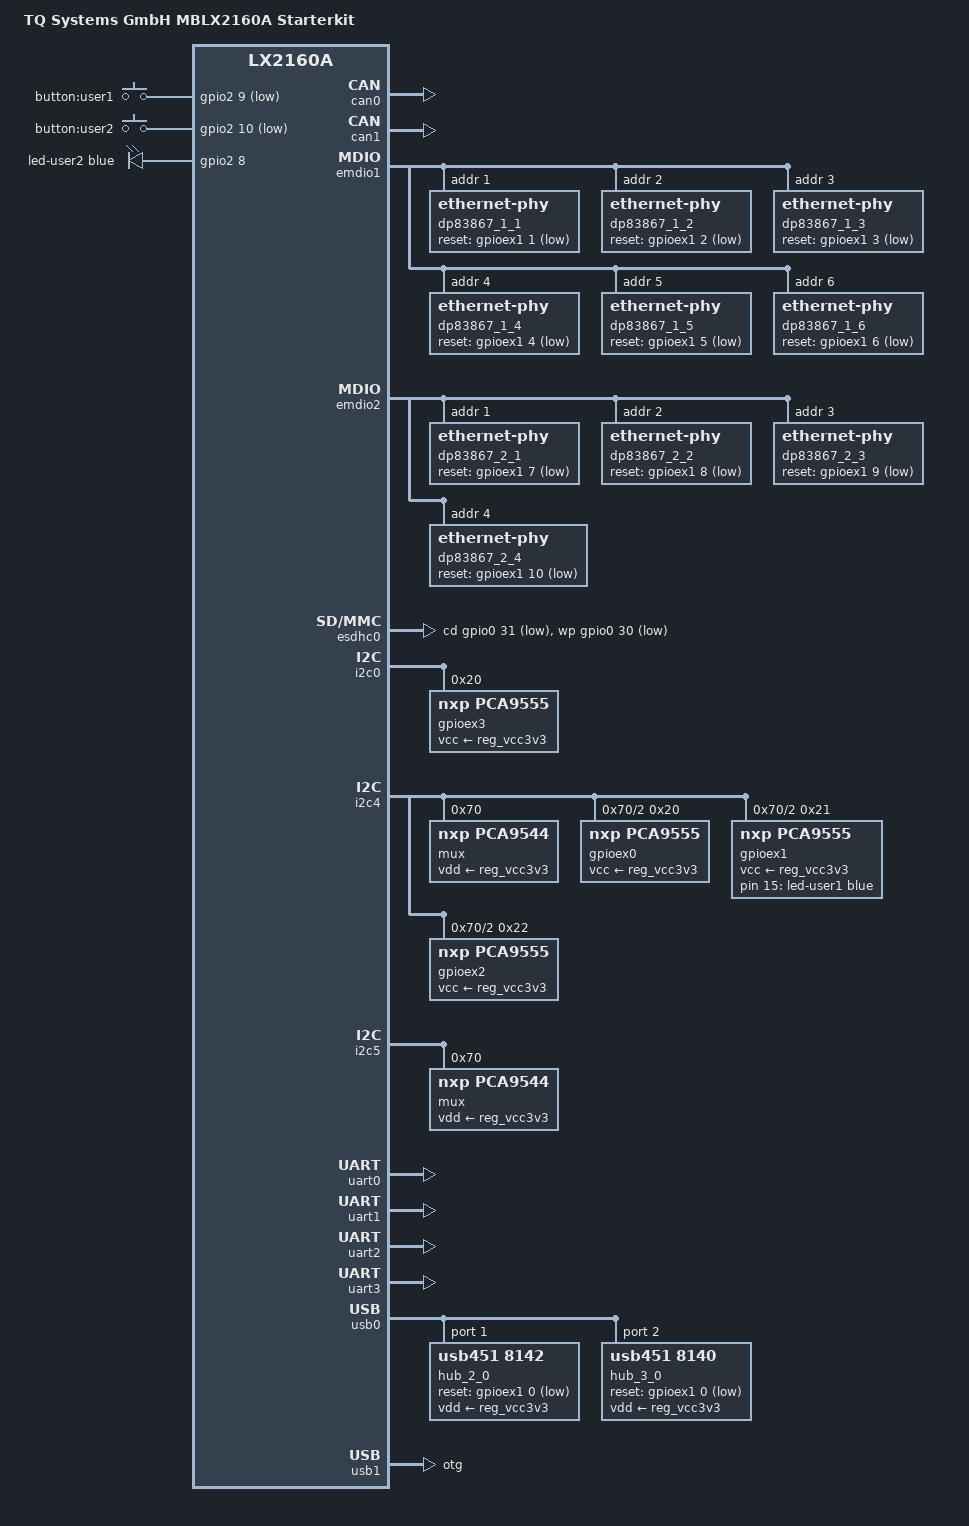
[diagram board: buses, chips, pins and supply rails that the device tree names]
// SPDX-License-Identifier: GPL-2.0-or-later OR MIT
/*
 * Copyright (c) 2020-2023 TQ-Systems GmbH <linux@ew.tq-group.com>,
 * D-82229 Seefeld, Germany.
 * Author: Gregor Herburger
 */

/dts-v1/;

#include <dt-bindings/input/input.h>
#include <dt-bindings/leds/common.h>
#include <dt-bindings/net/ti-dp83867.h>

#include "fsl-lx2160a-tqmlx2160a.dtsi"

/ {
	model = "TQ Systems GmbH MBLX2160A Starterkit";
	compatible = "tq,lx2160a-tqmlx2160a-mblx2160a", "tq,lx2160a-tqmlx2160a",
		     "fsl,lx2160a";

	aliases {
		mmc0 = &esdhc0;
		mmc1 = &esdhc1;
		serial0 = &uart0;
		serial1 = &uart1;
		serial2 = &uart2;
		serial3 = &uart3;
	};

	chosen {
		stdout-path = &uart0;
	};

	gpio-keys {
		compatible = "gpio-keys";

		button-user1 {
			label = "button:user1";
			gpios = <&gpio2 9 GPIO_ACTIVE_LOW>;
			linux,code = <KEY_F1>;
		};

		button-user2 {
			label = "button:user2";
			gpios = <&gpio2 10 GPIO_ACTIVE_LOW>;
			linux,code = <KEY_F2>;
		};
	};

	leds {
		compatible = "gpio-leds";

		led-user1 {
			gpios = <&gpioex1 15 GPIO_ACTIVE_HIGH>;
			color = <LED_COLOR_ID_BLUE>;
			function = LED_FUNCTION_HEARTBEAT;
			function-enumerator = <0>;
			linux,default-trigger = "heartbeat";
		};

		led-user2 {
			gpios = <&gpio2 8 GPIO_ACTIVE_HIGH>;
			color = <LED_COLOR_ID_BLUE>;
			function = LED_FUNCTION_HEARTBEAT;
			function-enumerator = <1>;
			linux,default-trigger = "heartbeat";
		};
	};

	sfp_xfi1: sfp-xfi1 {
		compatible = "sff,sfp";
		i2c-bus = <&xfi1_i2c>;
		mod-def0-gpios = <&gpioex2 2 GPIO_ACTIVE_LOW>;
		los-gpios = <&gpioex2 3 GPIO_ACTIVE_HIGH>;
		tx-fault-gpios = <&gpioex2 0 GPIO_ACTIVE_HIGH>;
		tx-disable-gpios = <&gpioex2 1 GPIO_ACTIVE_HIGH>;
		status = "disabled";
	};

	sfp_xfi2: sfp-xfi2 {
		compatible = "sff,sfp";
		i2c-bus = <&xfi2_i2c>;
		mod-def0-gpios = <&gpioex2 6 GPIO_ACTIVE_LOW>;
		los-gpios = <&gpioex2 7 GPIO_ACTIVE_HIGH>;
		tx-fault-gpios = <&gpioex2 4 GPIO_ACTIVE_HIGH>;
		tx-disable-gpios = <&gpioex2 5 GPIO_ACTIVE_HIGH>;
		status = "disabled";
	};
};

&can0 {
	status = "okay";
};

&can1 {
	status = "okay";
};

&dpmac17 {
	phy-handle = <&dp83867_2_3>;
	phy-connection-type = "rgmii-id";
};

&dpmac18 {
	phy-handle = <&dp83867_2_4>;
	phy-connection-type = "rgmii-id";
};

/*
 * Assert reset for 2.5ms on SGMII PHYs to let capacitors discharge before
 * strap pin sampling
 */

&emdio1 {
	status = "okay";

	dp83867_1_1: ethernet-phy@1 {
		reg = <1>;
		reset-assert-us = <2500>;
		reset-deassert-us = <200>;
		reset-gpios = <&gpioex1 1 GPIO_ACTIVE_LOW>;
		ti,clk-output-sel = <DP83867_CLK_O_SEL_OFF>;
	};

	dp83867_1_2: ethernet-phy@2 {
		reg = <2>;
		reset-assert-us = <2500>;
		reset-deassert-us = <200>;
		reset-gpios = <&gpioex1 2 GPIO_ACTIVE_LOW>;
		ti,clk-output-sel = <DP83867_CLK_O_SEL_OFF>;
	};

	dp83867_1_3: ethernet-phy@3 {
		reg = <3>;
		reset-assert-us = <2500>;
		reset-deassert-us = <200>;
		reset-gpios = <&gpioex1 3 GPIO_ACTIVE_LOW>;
		ti,clk-output-sel = <DP83867_CLK_O_SEL_OFF>;
	};

	dp83867_1_4: ethernet-phy@4 {
		reg = <4>;
		reset-assert-us = <2500>;
		reset-deassert-us = <200>;
		reset-gpios = <&gpioex1 4 GPIO_ACTIVE_LOW>;
		ti,clk-output-sel = <DP83867_CLK_O_SEL_OFF>;
	};

	dp83867_1_5: ethernet-phy@5 {
		reg = <5>;
		reset-assert-us = <2500>;
		reset-deassert-us = <200>;
		reset-gpios = <&gpioex1 5 GPIO_ACTIVE_LOW>;
		ti,clk-output-sel = <DP83867_CLK_O_SEL_OFF>;
	};

	dp83867_1_6: ethernet-phy@6 {
		reg = <6>;
		reset-assert-us = <2500>;
		reset-deassert-us = <200>;
		reset-gpios = <&gpioex1 6 GPIO_ACTIVE_LOW>;
		ti,clk-output-sel = <DP83867_CLK_O_SEL_OFF>;
	};
};

&emdio2 {
	status = "okay";

	dp83867_2_1: ethernet-phy@1 {
		reg = <1>;
		reset-assert-us = <2500>;
		reset-deassert-us = <200>;
		reset-gpios = <&gpioex1 7 GPIO_ACTIVE_LOW>;
		ti,clk-output-sel = <DP83867_CLK_O_SEL_OFF>;
	};

	dp83867_2_2: ethernet-phy@2 {
		reg = <2>;
		reset-assert-us = <2500>;
		reset-deassert-us = <200>;
		reset-gpios = <&gpioex1 8 GPIO_ACTIVE_LOW>;
		ti,clk-output-sel = <DP83867_CLK_O_SEL_OFF>;
	};

	dp83867_2_3: ethernet-phy@3 {
		reg = <3>;
		reset-assert-us = <1>;
		reset-deassert-us = <200>;
		reset-gpios = <&gpioex1 9 GPIO_ACTIVE_LOW>;
		ti,rx-internal-delay = <DP83867_RGMIIDCTL_2_25_NS>;
		ti,tx-internal-delay = <DP83867_RGMIIDCTL_2_25_NS>;
		ti,clk-output-sel = <DP83867_CLK_O_SEL_OFF>;
	};

	dp83867_2_4: ethernet-phy@4 {
		reg = <4>;
		reset-assert-us = <1>;
		reset-deassert-us = <200>;
		reset-gpios = <&gpioex1 10 GPIO_ACTIVE_LOW>;
		ti,rx-internal-delay = <DP83867_RGMIIDCTL_2_25_NS>;
		ti,tx-internal-delay = <DP83867_RGMIIDCTL_2_25_NS>;
		ti,clk-output-sel = <DP83867_CLK_O_SEL_OFF>;
	};
};

&esdhc0 {
	sd-uhs-sdr104;
	sd-uhs-sdr50;
	sd-uhs-sdr25;
	sd-uhs-sdr12;
	no-mmc;
	no-sdio;
	wp-gpios = <&gpio0 30 GPIO_ACTIVE_LOW>;
	cd-gpios = <&gpio0 31 GPIO_ACTIVE_LOW>;
	status = "okay";
};

&i2c0 {
	gpioex3: gpio@20 {
		compatible = "nxp,pca9555";
		reg = <0x20>;
		#gpio-cells = <2>;
		gpio-controller;
		vcc-supply = <&reg_vcc3v3>;

		line0-hog {
			gpio-hog;
			gpios = <0 GPIO_ACTIVE_HIGH>;
			input;
			line-name = "NOR_SWAP#";
		};

		line1-hog {
			gpio-hog;
			gpios = <1 GPIO_ACTIVE_HIGH>;
			input;
			line-name = "BOOT_SRC2";
		};

		line2-hog {
			gpio-hog;
			gpios = <2 GPIO_ACTIVE_HIGH>;
			input;
			line-name = "BOOT_SRC1";
		};

		line3-hog {
			gpio-hog;
			gpios = <3 GPIO_ACTIVE_HIGH>;
			input;
			line-name = "BOOT_SRC0";
		};

		line4-hog {
			gpio-hog;
			gpios = <4 GPIO_ACTIVE_HIGH>;
			input;
			line-name = "EMMC_SEL1";
		};

		line5-hog {
			gpio-hog;
			gpios = <5 GPIO_ACTIVE_HIGH>;
			input;
			line-name = "EMMC_SEL0";
		};

		line6-hog {
			gpio-hog;
			gpios = <6 GPIO_ACTIVE_HIGH>;
			input;
			line-name = "SD2_4_MUX_SEL";
		};

		line7-hog {
			gpio-hog;
			gpios = <7 GPIO_ACTIVE_HIGH>;
			input;
			line-name = "SD2_3_MUX_SEL";
		};

		line8-hog {
			gpio-hog;
			gpios = <8 GPIO_ACTIVE_HIGH>;
			input;
			line-name = "SD2_2_MUX_SEL";
		};

		line9-hog {
			gpio-hog;
			gpios = <9 GPIO_ACTIVE_HIGH>;
			input;
			line-name = "SD1_MUX_SEL";
		};

		line10-hog {
			gpio-hog;
			gpios = <10 GPIO_ACTIVE_HIGH>;
			input;
			line-name = "ENABLE_FAN";
		};

		line11-hog {
			gpio-hog;
			gpios = <11 GPIO_ACTIVE_HIGH>;
			input;
			line-name = "SD3_MUX_SEL";
		};

		line12-hog {
			gpio-hog;
			gpios = <12 GPIO_ACTIVE_HIGH>;
			input;
			line-name = "SD2_7_MUX_SEL";
		};

		line13-hog {
			gpio-hog;
			gpios = <13 GPIO_ACTIVE_HIGH>;
			input;
			line-name = "SD2_6_MUX_SEL";
		};

		line14-hog {
			gpio-hog;
			gpios = <14 GPIO_ACTIVE_HIGH>;
			input;
			/* Reserved */
		};

		line15-hog {
			gpio-hog;
			gpios = <15 GPIO_ACTIVE_HIGH>;
			input;
			line-name = "EC2_SEL";
		};
	};
};

&i2c4 {
	status = "okay";

	mux@70 {
		compatible = "nxp,pca9544";
		reg = <0x70>;
		#address-cells = <1>;
		#size-cells = <0>;
		vdd-supply = <&reg_vcc3v3>;

		i2c@0 {
			reg = <0>;
			#address-cells = <1>;
			#size-cells = <0>;
		};

		i2c@1 {
			reg = <1>;
			#address-cells = <1>;
			#size-cells = <0>;
		};

		i2c@2 {
			reg = <2>;
			#address-cells = <1>;
			#size-cells = <0>;

			gpioex0: gpio@20 {
				compatible = "nxp,pca9555";
				reg = <0x20>;
				#gpio-cells = <2>;
				gpio-controller;
				vcc-supply = <&reg_vcc3v3>;

				line2-hog {
					gpio-hog;
					gpios = <2 GPIO_ACTIVE_HIGH>;
					input;
					line-name = "QSFP_MODPRS#";
				};

				line3-hog {
					gpio-hog;
					gpios = <3 GPIO_ACTIVE_HIGH>;
					input;
					line-name = "QSFP_INT#";
				};

				line5-hog {
					gpio-hog;
					gpios = <5 GPIO_ACTIVE_HIGH>;
					input;
					line-name = "IRQ_RETIMER_1#";
				};

				line6-hog {
					gpio-hog;
					gpios = <6 GPIO_ACTIVE_HIGH>;
					input;
					line-name = "IRQ_RETIMER_2#";
				};

				line7-hog {
					gpio-hog;
					gpios = <7 GPIO_ACTIVE_HIGH>;
					input;
					line-name = "MPCIE_1_WAKE#";
				};

				line8-hog {
					gpio-hog;
					gpios = <8 GPIO_ACTIVE_HIGH>;
					output-high;
					line-name = "MPCIE_1_DISABLE#";
				};

				line9-hog {
					gpio-hog;
					gpios = <9 GPIO_ACTIVE_HIGH>;
					output-high;
					line-name = "MPCIE_1_RESET#";
				};

				line10-hog {
					gpio-hog;
					gpios = <10 GPIO_ACTIVE_HIGH>;
					input;
					line-name = "MPCIE_2_WAKE#";
				};

				line11-hog {
					gpio-hog;
					gpios = <11 GPIO_ACTIVE_HIGH>;
					output-high;
					line-name = "MPCIE_2_DISABLE#";
				};

				line12-hog {
					gpio-hog;
					gpios = <12 GPIO_ACTIVE_HIGH>;
					output-high;
					line-name = "MPCIE_2_RESET#";
				};

				line15-hog {
					gpio-hog;
					gpios = <15 GPIO_ACTIVE_HIGH>;
					input;
					line-name = "SIM_CARD_DETECT";
				};
			};

			gpioex1: gpio@21 {
				compatible = "nxp,pca9555";
				reg = <0x21>;
				#gpio-cells = <2>;
				gpio-controller;
				vcc-supply = <&reg_vcc3v3>;

				line13-hog {
					gpio-hog;
					gpios = <13 GPIO_ACTIVE_HIGH>;
					output-high;
					line-name = "RST_M2_SATA_1#";
				};

				line14-hog {
					gpio-hog;
					gpios = <14 GPIO_ACTIVE_HIGH>;
					output-high;
					line-name = "RST_M2_SATA_2#";
				};
			};

			gpioex2: gpio@22 {
				compatible = "nxp,pca9555";
				reg = <0x22>;
				#gpio-cells = <2>;
				gpio-controller;
				vcc-supply = <&reg_vcc3v3>;

				line8-hog {
					gpio-hog;
					gpios = <8 GPIO_ACTIVE_HIGH>;
					input;
					line-name = "XFI1_RET_LOSS";
				};

				line9-hog {
					gpio-hog;
					gpios = <9 GPIO_ACTIVE_HIGH>;
					input;
					line-name = "XFI2_RET_LOSS";
				};

				line10-hog {
					gpio-hog;
					gpios = <10 GPIO_ACTIVE_HIGH>;
					output-high;
					line-name = "PCIE_1_PERST#";
				};

				line11-hog {
					gpio-hog;
					gpios = <11 GPIO_ACTIVE_HIGH>;
					output-high;
					line-name = "PCIE_2_PERST#";
				};

				line12-hog {
					gpio-hog;
					gpios = <12 GPIO_ACTIVE_HIGH>;
					input;
					line-name = "PCIE_WAKE#";
				};

				line13-hog {
					gpio-hog;
					gpios = <13 GPIO_ACTIVE_HIGH>;
					input;
					line-name = "X8_PRSNT1#";
				};

				line14-hog {
					gpio-hog;
					gpios = <14 GPIO_ACTIVE_HIGH>;
					input;
					line-name = "X4_1_PRSNT1#";
				};

				line15-hog {
					gpio-hog;
					gpios = <15 GPIO_ACTIVE_HIGH>;
					input;
					line-name = "X4_2_PRSNT1#";
				};
			};
		};

		i2c@3 {
			reg = <3>;
			#address-cells = <1>;
			#size-cells = <0>;
		};
	};
};

&i2c5 {
	status = "okay";

	mux@70 {
		compatible = "nxp,pca9544";
		reg = <0x70>;
		#address-cells = <1>;
		#size-cells = <0>;
		vdd-supply = <&reg_vcc3v3>;

		i2c@0 {
			reg = <0>;
			#address-cells = <1>;
			#size-cells = <0>;
		};

		xfi1_i2c: i2c@1 {
			reg = <1>;
			#address-cells = <1>;
			#size-cells = <0>;
		};

		xfi2_i2c: i2c@2 {
			reg = <2>;
			#address-cells = <1>;
			#size-cells = <0>;
		};

		i2c@3 {
			reg = <3>;
			#address-cells = <1>;
			#size-cells = <0>;
		};
	};
};

&uart0 {
	status = "okay";
};

&uart1 {
	status = "okay";
};

&uart2 {
	status = "okay";
};

&uart3 {
	status = "okay";
};

&usb0 {
	#address-cells = <1>;
	#size-cells = <0>;
	status = "okay";

	hub_2_0: hub@1 {
		compatible = "usb451,8142";
		reg = <1>;
		peer-hub = <&hub_3_0>;
		reset-gpios = <&gpioex1 0 GPIO_ACTIVE_LOW>;
		vdd-supply = <&reg_vcc3v3>;
	};

	hub_3_0: hub@2 {
		compatible = "usb451,8140";
		reg = <2>;
		peer-hub = <&hub_2_0>;
		reset-gpios = <&gpioex1 0 GPIO_ACTIVE_LOW>;
		vdd-supply = <&reg_vcc3v3>;
	};
};

&usb1 {
	dr_mode = "otg";
	status = "okay";
};
